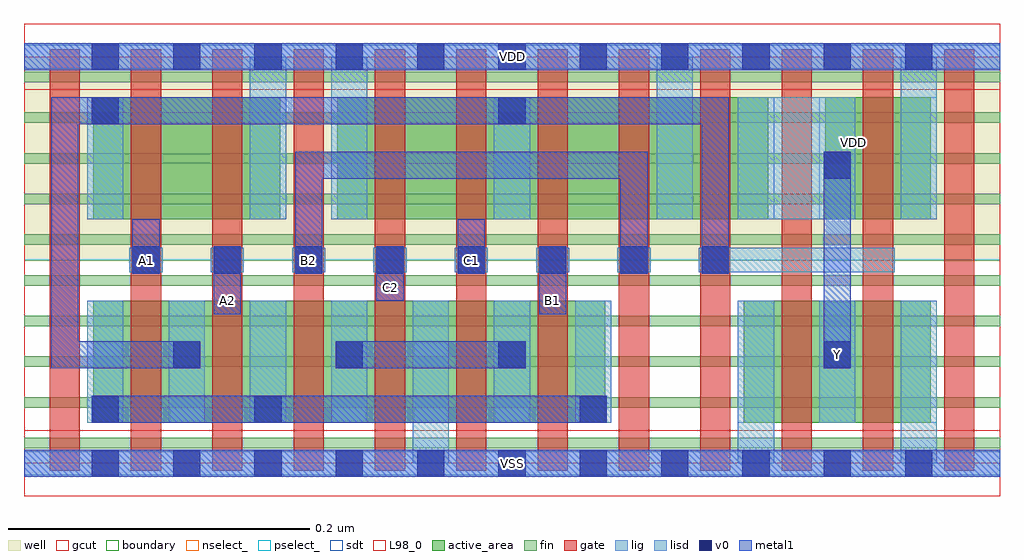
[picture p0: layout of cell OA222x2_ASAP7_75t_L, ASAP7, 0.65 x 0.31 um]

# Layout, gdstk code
import gdstk
lib = gdstk.Library(unit=1e-6, precision=2.5e-10)
def R(c, l, rs):  # rectangles x0, y0, x1, y1
    for r in rs: c.add(gdstk.rectangle(r[:2], r[2:], *l))
def A(c, l, x, y, w, h, nx, ny, dx, dy):  # array of equal rectangles
    R(c, l, [(x+i*dx, y+j*dy, x+i*dx+w, y+j*dy+h) for i in range(nx) for j in range(ny)])
def P(c, l, *ps):  # polygons
    for p in ps: c.add(gdstk.Polygon(p, *l))
well = (1, 0)
fin = (2, 0)
gate = (7, 0)
gcut = (10, 0)
active_area = (11, 0)
nselect_ = (12, 0)
pselect_ = (13, 0)
lig = (16, 0)
lisd = (17, 0)
v0 = (18, 0)
metal1 = (19, 0)
sdt = (88, 0)
L98_0 = (98, 0)
boundary = (100, 0)

oa222x2_asap7_75t_l = lib.new_cell('OA222x2_ASAP7_75t_L')
R(oa222x2_asap7_75t_l, well, [(0,0.135,0.648,0.27)])
A(oa222x2_asap7_75t_l, fin, 0, 0.01, 0.648, 0.007, 1, 10, 0, 0.027)
A(oa222x2_asap7_75t_l, gate, 0.017, -0.005, 0.02, 0.28, 12, 1, 0.054, 0)
R(oa222x2_asap7_75t_l, gcut, [(0,-0.022,0.648,0.022), (0,0.248,0.648,0.292)])
R(oa222x2_asap7_75t_l, active_area, [(0.046,0.027,0.386,0.108), (0.478,0.027,0.602,0.108), (0.046,0.162,0.17,0.243), (0.208,0.162,0.494,0.243), (0.532,0.162,0.602,0.243)])
R(oa222x2_asap7_75t_l, nselect_, [(0,0,0.648,0.135)])
R(oa222x2_asap7_75t_l, pselect_, [(0,0.135,0.648,0.27)])
A(oa222x2_asap7_75t_l, lig, 0.07, 0.127, 0.022, 0.016, 7, 1, 0.054, 0)
R(oa222x2_asap7_75t_l, lig, [(0,-0.008,0.648,0.008), (0.448,0.127,0.578,0.143), (0,0.262,0.648,0.278)])
A(oa222x2_asap7_75t_l, lisd, 0.042, 0.027, 0.024, 0.081, 4, 1, 0.054, 0)
R(oa222x2_asap7_75t_l, lisd, [(0.258,0,0.282,0.108), (0.474,0,0.498,0.108), (0.582,0,0.606,0.108), (0.312,0.027,0.336,0.108), (0.366,0.027,0.39,0.108), (0.528,0.027,0.552,0.108), (0.042,0.162,0.066,0.243), (0.15,0.162,0.174,0.27), (0.204,0.162,0.228,0.27), (0.312,0.162,0.336,0.243), (0.42,0.162,0.444,0.27), (0.474,0.162,0.552,0.243), (0.582,0.162,0.606,0.27)])
A(oa222x2_asap7_75t_l, v0, 0.045, -0.009, 0.018, 0.018, 11, 2, 0.054, 0.27)
A(oa222x2_asap7_75t_l, v0, 0.099, 0.063, 0.018, 0.018, 3, 1, 0.108, 0)
A(oa222x2_asap7_75t_l, v0, 0.072, 0.126, 0.018, 0.018, 8, 1, 0.054, 0)
R(oa222x2_asap7_75t_l, v0, [(0.045,0.027,0.063,0.045), (0.153,0.027,0.171,0.045), (0.369,0.027,0.387,0.045), (0.531,0.063,0.549,0.081), (0.531,0.189,0.549,0.207), (0.045,0.225,0.063,0.243), (0.315,0.225,0.333,0.243)])
R(oa222x2_asap7_75t_l, metal1, [(0,-0.009,0.648,0.009), (0.045,0.027,0.387,0.045), (0.207,0.063,0.333,0.081), (0.531,0.063,0.549,0.207), (0.126,0.099,0.144,0.144), (0.342,0.099,0.36,0.144), (0.234,0.108,0.252,0.144), (0.072,0.126,0.09,0.162), (0.288,0.126,0.306,0.162), (0,0.261,0.648,0.279)])
P(oa222x2_asap7_75t_l, metal1, [(0.18,0.126),(0.18,0.207),(0.414,0.207),(0.414,0.126),(0.396,0.126),(0.396,0.189),(0.198,0.189),(0.198,0.126)],
  [(0.018,0.063),(0.018,0.243),(0.468,0.243),(0.468,0.126),(0.45,0.126),(0.45,0.225),(0.036,0.225),(0.036,0.081),(0.117,0.081),(0.117,0.063)])
A(oa222x2_asap7_75t_l, sdt, 0.042, 0.027, 0.024, 0.081, 7, 1, 0.054, 0)
A(oa222x2_asap7_75t_l, sdt, 0.474, 0.027, 0.024, 0.081, 3, 2, 0.054, 0.135)
A(oa222x2_asap7_75t_l, sdt, 0.204, 0.162, 0.024, 0.081, 3, 1, 0.108, 0)
R(oa222x2_asap7_75t_l, sdt, [(0.042,0.162,0.066,0.243), (0.15,0.162,0.174,0.243)])
R(oa222x2_asap7_75t_l, L98_0, [(0,0,0.648,0.27)])
R(oa222x2_asap7_75t_l, boundary, [(0,0,0.648,0.27)])
oa222x2_asap7_75t_l.add(gdstk.Label('Y', (0.54,0.072), layer=19, texttype=251))
oa222x2_asap7_75t_l.add(gdstk.Label('C2', (0.243,0.117), layer=19, texttype=251))
oa222x2_asap7_75t_l.add(gdstk.Label('C1', (0.297,0.135), layer=19, texttype=251))
oa222x2_asap7_75t_l.add(gdstk.Label('B2', (0.189,0.135), layer=19, texttype=251))
oa222x2_asap7_75t_l.add(gdstk.Label('B1', (0.351,0.108), layer=19, texttype=251))
oa222x2_asap7_75t_l.add(gdstk.Label('A2', (0.135,0.108), layer=19, texttype=251))
oa222x2_asap7_75t_l.add(gdstk.Label('A1', (0.081,0.135), layer=19, texttype=251))
oa222x2_asap7_75t_l.add(gdstk.Label('VSS', (0.324,0), layer=19, texttype=251))
oa222x2_asap7_75t_l.add(gdstk.Label('VDD', (0.324,0.27), layer=19, texttype=251))
oa222x2_asap7_75t_l.add(gdstk.Label('VDD', (0.551,0.213), layer=1, texttype=251))
oa222x2_asap7_75t_l.add(gdstk.Label('VSS', (0.745,0.213), layer=3, texttype=251))

lib.write_gds('OA222x2_ASAP7_75t_L.gds')
